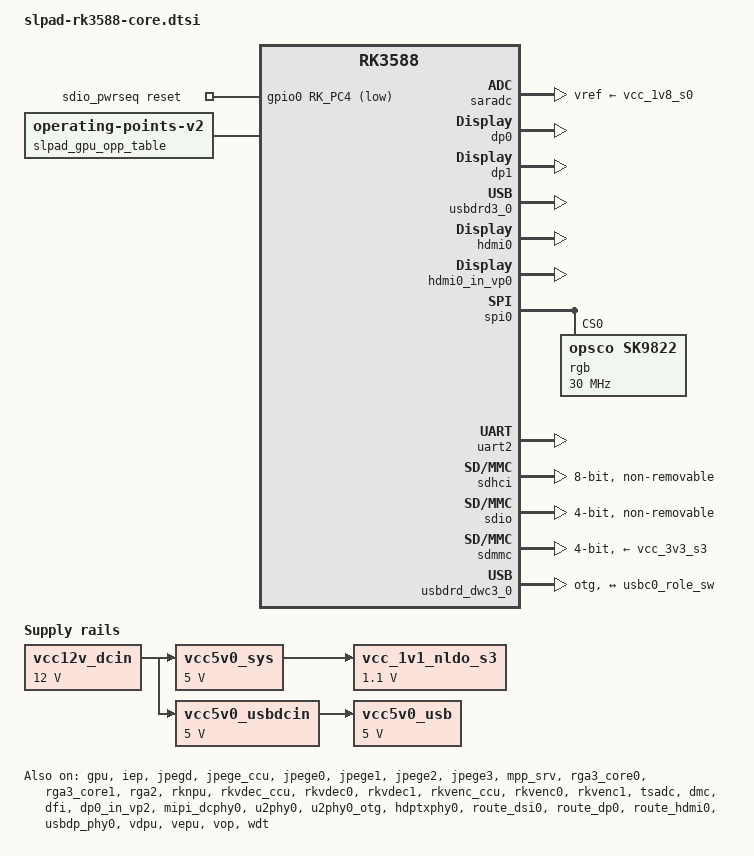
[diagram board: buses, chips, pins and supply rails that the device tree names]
// SPDX-License-Identifier: (GPL-2.0+ OR MIT)
/*
 * Copyright (c) 2021 Rockchip Electronics Co., Ltd.
 *
 */

#include <dt-bindings/gpio/gpio.h>
#include <dt-bindings/pwm/pwm.h>
#include <dt-bindings/pinctrl/rockchip.h>
#include <dt-bindings/input/rk-input.h>
#include <dt-bindings/display/drm_mipi_dsi.h>
#include <dt-bindings/display/rockchip_vop.h>
#include <dt-bindings/sensor-dev.h>
#include "dt-bindings/usb/pd.h"
#include "dt-bindings/leds/common.h"
#include "rk3588.dtsi"
#include "slpad-rk806.dtsi"


/* Reviewed against official develop-6.12 at 470f9dcc. */
/delete-node/ &gpu_opp_table;

/ {
	reserved-memory {
		#address-cells = <2>;
		#size-cells = <2>;
		ranges;
		linux,cma {
			compatible = "shared-dma-pool";
			reusable;
			size = <0x0 0x08000000>;
			alignment = <0x0 0x00200000>;
			linux,cma-default;
		};
	};
};

/ {
	vcc12v_dcin: vcc12v-dcin {
		compatible = "regulator-fixed";
		regulator-name = "vcc12v_dcin";
		regulator-always-on;
		regulator-boot-on;
		regulator-min-microvolt = <12000000>;
		regulator-max-microvolt = <12000000>;
	};
};

/ {
	vcc5v0_sys: vcc5v0-sys {
		compatible = "regulator-fixed";
		regulator-name = "vcc5v0_sys";
		regulator-always-on;
		regulator-boot-on;
		regulator-min-microvolt = <5000000>;
		regulator-max-microvolt = <5000000>;
		vin-supply = <&vcc12v_dcin>;
	};
};

/ {
	vcc_1v1_nldo_s3: vcc-1v1-nldo-s3 {
		compatible = "regulator-fixed";
		regulator-name = "vcc_1v1_nldo_s3";
		regulator-always-on;
		regulator-boot-on;
		regulator-min-microvolt = <1100000>;
		regulator-max-microvolt = <1100000>;
		vin-supply = <&vcc5v0_sys>;
	};
};

/ {
	vcc5v0_usbdcin: vcc5v0-usbdcin {
		compatible = "regulator-fixed";
		regulator-name = "vcc5v0_usbdcin";
		regulator-always-on;
		regulator-boot-on;
		regulator-min-microvolt = <5000000>;
		regulator-max-microvolt = <5000000>;
		vin-supply = <&vcc12v_dcin>;
	};
};

/ {
	vcc5v0_usb: vcc5v0-usb {
		compatible = "regulator-fixed";
		regulator-name = "vcc5v0_usb";
		regulator-always-on;
		regulator-boot-on;
		regulator-min-microvolt = <5000000>;
		regulator-max-microvolt = <5000000>;
		vin-supply = <&vcc5v0_usbdcin>;
	};
};

/ {
	sdio_pwrseq: sdio-pwrseq {
		compatible = "mmc-pwrseq-simple";
		clocks = <&hym8563>;
		clock-names = "ext_clock";
		pinctrl-names = "default";
		pinctrl-0 = <&wifi_enable_h>;
		/*
		 * On the module itself this is one of these (depending
		 * on the actual card populated):
		 * - SDIO_RESET_L_WL_REG_ON
		 * - PDN (power down when low)
		 */
		post-power-on-delay-ms = <200>;
		reset-gpios = <&gpio0 RK_PC4 GPIO_ACTIVE_LOW>;
	};
};

&av1d_mmu {
	status = "okay";
};

&cpu_l0 {
	cpu-supply = <&vdd_cpu_lit_s0>;
	mem-supply = <&vdd_cpu_lit_mem_s0>;
};

&cpu_b0 {
	cpu-supply = <&vdd_cpu_big0_s0>;
	mem-supply = <&vdd_cpu_big0_mem_s0>;
};

&cpu_b2 {
	cpu-supply = <&vdd_cpu_big1_s0>;
	mem-supply = <&vdd_cpu_big1_mem_s0>;
};

&gpu {
	mali-supply = <&vdd_gpu_s0>;
	sram-supply = <&vdd_gpu_mem_s0>;
	status = "okay";
};

&iep {
	status = "okay";
};

&iep_mmu {
	status = "okay";
};

&jpegd {
	status = "okay";
};

&jpegd_mmu {
	status = "okay";
};

&jpege_ccu {
	status = "okay";
};

&jpege0 {
	status = "okay";
};

&jpege0_mmu {
	status = "okay";
};

&jpege1 {
	status = "okay";
};

&jpege1_mmu {
	status = "okay";
};

&jpege2 {
	status = "okay";
};

&jpege2_mmu {
	status = "okay";
};

&jpege3 {
	status = "okay";
};

&jpege3_mmu {
	status = "okay";
};

&mpp_srv {
	status = "okay";
};

&rga3_core0 {
	status = "okay";
};

&rga3_0_mmu {
	status = "okay";
};

&rga3_core1 {
	status = "okay";
};

&rga3_1_mmu {
	status = "okay";
};

&rga2 {
	status = "okay";
};

&rknpu {
	rknpu-supply = <&vdd_npu_s0>;
	mem-supply = <&vdd_npu_mem_s0>;
	status = "okay";
};

&rknpu_mmu {
	status = "okay";
};

&rkvdec_ccu {
	status = "okay";
};

&rkvdec0 {
	status = "okay";
};

&rkvdec0_mmu {
	status = "okay";
};

&rkvdec1 {
	status = "okay";
};

&rkvdec1_mmu {
	status = "okay";
};

&rkvenc_ccu {
	status = "okay";
};

&rkvenc0 {
	status = "okay";
};

&rkvenc0_mmu {
	status = "okay";
};

&rkvenc1 {
	status = "okay";
};

&rkvenc1_mmu {
	status = "okay";
};

&rockchip_suspend {
	status = "okay";
	rockchip,sleep-debug-en = <1>;
	rockchip,sleep-mode-config = <
		(0
		| RKPM_SLP_ARMOFF_LOGOFF
		| RKPM_SLP_PMU_PMUALIVE_32K
		| RKPM_SLP_PMU_DIS_OSC
		| RKPM_SLP_32K_EXT
		)
	>;
	rockchip,wakeup-config = <
		(0
		| RKPM_GPIO_WKUP_EN
		)
	>;
};

&saradc {
	status = "okay";
	vref-supply = <&vcc_1v8_s0>;
};

&tsadc {
	status = "okay";
};

&combphy0_ps {
	status = "disabled";
};

&combphy1_ps {
	status = "disabled";
};

&combphy2_psu {
	status = "disabled";
};

&dmc {
	center-supply = <&vdd_ddr_s0>;
	mem-supply = <&vdd_log_s0>;
	status = "okay";
};

&dfi {
	status = "okay";
};

&dp0 {
	status = "okay";
};

&dp0_in_vp2 {
	status = "okay";
};

&dp1 {
	status = "okay";
};

&dp1_in_vp2 {
	status = "disabled";
};

&mipi_dcphy0 {
	status = "okay";
};

&mipi_dcphy1 {
	status = "disabled";
};

&u2phy0 {
	status = "okay";
};

&u2phy1 {
	status = "disabled";
};

&u2phy2 {
	status = "disabled";
};

&u2phy3 {
	status = "disabled";
};

&u2phy0_otg {
	status = "okay";
	rockchip,typec-vbus-det;
};

&u2phy1_otg {
	status = "disabled";
};

&u2phy2_host {
	status = "disabled";
};

&u2phy3_host {
	status = "disabled";
};

&usb_host0_ehci {
	status = "disabled";
};

&usb_host0_ohci {
	status = "disabled";
};

&usb_host1_ehci {
	status = "disabled";
};

&usb_host1_ohci {
	status = "disabled";
};

&usbdp_phy1 {
	status = "disabled";
};

&usbdrd3_0 {
	status = "okay";
};

&usbhost3_0 {
	status = "disabled";
};

&usbhost_dwc3_0 {
	status = "disabled";
};

&usbdrd3_1 {
	status = "disabled";
};

&usbdrd_dwc3_1 {
	status = "disabled";
};

&hdmi0 {
	status = "okay";
};

&hdmi0_in_vp0 {
	status = "okay";
};

&hdptxphy0 {
	status = "okay";
};

&spi0 {
    status = "okay";
    pinctrl-0 = <&spi0usr_pins>;

    rgb@0 {
        compatible = "opsco,sk9822";
		status = "okay";
        reg = <0>;
        spi-max-frequency = <30000000>;
        #address-cells = <1>;
		#size-cells = <0>;
		led@0 {
			reg = <0>;
			label = "led1";
		};
    };
};

&uart2 {
	pinctrl-names = "default";
	pinctrl-0 = <&uart2m0_xfer>;
	status = "okay";
};

&route_dsi0 {
	status = "okay";
	logo,uboot = "logo.bmp";
	logo,kernel = "logo_kernel.bmp";
	logo,mode = "center";
	logo,rotate = <90>;
	charge_logo,mode = "center";
	connect = <&vp3_out_dsi0>;
};

&route_dp0 {
	status = "okay";
	logo,uboot = "logo.bmp";
	logo,kernel = "logo_kernel.bmp";
	logo,mode = "center";
	logo,rotate = <90>;
	charge_logo,mode = "center";
	connect = <&vp2_out_dp0>;
};

&route_hdmi0 {
	status = "okay";
	logo,uboot = "logo.bmp";
	logo,kernel = "logo_kernel.bmp";
	logo,mode = "center";
	logo,rotate = <90>;
	charge_logo,mode = "center";
	connect = <&vp0_out_hdmi0>;
};

&sata0 {
	status = "disabled";
};

&sdhci {
	bus-width = <8>;
	no-sdio;
	no-sd;

	non-removable;
	max-frequency = <200000000>;
	mmc-hs400-1_8v;
	mmc-hs400-enhanced-strobe;
	status = "okay";
};

&sdio {
	max-frequency = <150000000>;
	no-sd;
	no-mmc;
	bus-width = <4>;
	disable-wp;
	cap-sd-highspeed;
	cap-sdio-irq;
	keep-power-in-suspend;
	mmc-pwrseq = <&sdio_pwrseq>;
	non-removable;
	pinctrl-names = "default";
	pinctrl-0 = <&sdiom0_pins>;
	sd-uhs-sdr104;
	status = "okay";
};

&sdmmc {
	max-frequency = <200000000>;
	no-sdio;
	no-mmc;
	bus-width = <4>;
	cap-mmc-highspeed;
	cap-sd-highspeed;
	disable-wp;
	sd-uhs-sdr104;

	vmmc-supply = <&vcc_3v3_s3>;
	vqmmc-supply = <&vccio_sd_s0>;
	pinctrl-names = "default";
	pinctrl-0 = <&sdmmc_bus4 &sdmmc_clk &sdmmc_cmd &sdmmc_det>;
	status = "okay";
};

&usbdp_phy0 {
	status = "okay";
	orientation-switch;
	mode-switch;
	sbu1-dc-gpios = <&gpio4 RK_PA6 GPIO_ACTIVE_HIGH>;
	sbu2-dc-gpios = <&gpio4 RK_PA7 GPIO_ACTIVE_HIGH>;

	port {
		#address-cells = <1>;
		#size-cells = <0>;
		usbdp_phy0_orientation_switch: endpoint@0 {
			reg = <0>;
			remote-endpoint = <&usbc0_orien_sw>;
		};

		usbdp_phy0_dp_altmode_mux: endpoint@1 {
			reg = <1>;
			remote-endpoint = <&dp_altmode_mux>;
		};
	};
};

&usbdrd_dwc3_0 {
	status = "okay";
	dr_mode = "otg";
	usb-role-switch;
	port {
		#address-cells = <1>;
		#size-cells = <0>;
		dwc3_0_role_switch: endpoint@0 {
			reg = <0>;
			remote-endpoint = <&usbc0_role_sw>;
		};
	};
};

&vdpu {
	status = "okay";
};

&vdpu_mmu {
	status = "okay";
};

&vepu {
	status = "okay";
};

&vop {
	status = "okay";
};

&vop_mmu {
	status = "okay";
};

&vp0 {
	rockchip,plane-mask = <(1 << ROCKCHIP_VOP2_CLUSTER0 | 1 << ROCKCHIP_VOP2_ESMART0)>;
	rockchip,primary-plane = <ROCKCHIP_VOP2_ESMART0>;
};

&vp1 {
	rockchip,plane-mask = <(1 << ROCKCHIP_VOP2_CLUSTER1 | 1 << ROCKCHIP_VOP2_ESMART1)>;
	rockchip,primary-plane = <ROCKCHIP_VOP2_ESMART1>;
};

&vp2 {
	rockchip,plane-mask = <(1 << ROCKCHIP_VOP2_CLUSTER2 | 1 << ROCKCHIP_VOP2_ESMART2)>;
	rockchip,primary-plane = <ROCKCHIP_VOP2_ESMART2>;
};

&vp3 {
	rockchip,plane-mask = <(1 << ROCKCHIP_VOP2_CLUSTER3 | 1 << ROCKCHIP_VOP2_ESMART3)>;
	rockchip,primary-plane = <ROCKCHIP_VOP2_ESMART3>;
};

&wdt {
  status = "okay";
};

&gpu {
 compatible = "rockchip,rk3588-mali", "arm,mali-valhall-csf";
 interrupts = <GIC_SPI 92 IRQ_TYPE_LEVEL_HIGH>, <GIC_SPI 93 IRQ_TYPE_LEVEL_HIGH>, <GIC_SPI 94 IRQ_TYPE_LEVEL_HIGH>;
 interrupt-names = "job", "mmu", "gpu";
 clocks = <&cru CLK_GPU>, <&cru CLK_GPU_COREGROUP>, <&cru CLK_GPU_STACKS>;
 clock-names = "core", "coregroup", "stacks";
 /delete-property/ assigned-clocks;
 /delete-property/ assigned-clock-rates;
 /delete-property/ upthreshold;
 /delete-property/ downdifferential;
};

/ {
 slpad_gpu_opp_table: slpad-gpu-opp-table {
  compatible = "operating-points-v2";
  opp-300000000 { opp-hz = /bits/ 64 <300000000>; opp-microvolt = <675000 675000 850000>; };
  opp-400000000 { opp-hz = /bits/ 64 <400000000>; opp-microvolt = <675000 675000 850000>; };
  opp-500000000 { opp-hz = /bits/ 64 <500000000>; opp-microvolt = <675000 675000 850000>; };
  opp-600000000 { opp-hz = /bits/ 64 <600000000>; opp-microvolt = <675000 675000 850000>; };
  opp-700000000 { opp-hz = /bits/ 64 <700000000>; opp-microvolt = <700000 700000 850000>; };
  opp-800000000 { opp-hz = /bits/ 64 <800000000>; opp-microvolt = <750000 750000 850000>; };
 };
};

&gpu { operating-points-v2 = <&slpad_gpu_opp_table>; };

&gmac0 { status = "disabled"; };

&gmac1 { status = "disabled"; };
